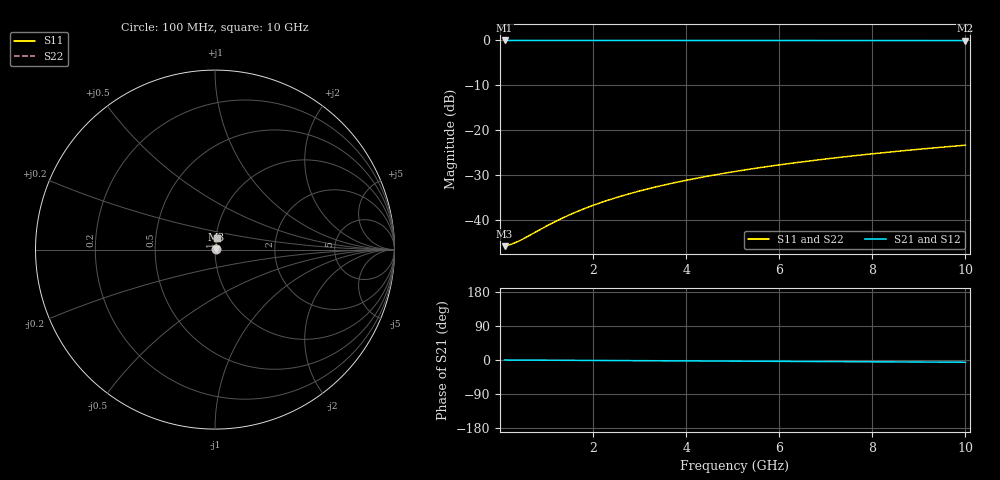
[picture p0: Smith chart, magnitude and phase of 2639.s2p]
# Hz S RI R 50.00
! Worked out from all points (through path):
!   100 points, 100 MHz to 10 GHz, reference 50 ohm
!   highest |S21| = -0.04 dB at 100 MHz (marker M1); lowest = -0.1 dB at 10 GHz (marker M2)
!   lowest |S11| = -45.8 dB at 100 MHz (marker M3), VSWR 1.01, Z = 50.5 + j0.0683 ohm
!   |S11| at or under -10 dB: start of sweep to end of sweep
!   |S22| runs from -45.8 to -23.3 dB; largest |S21 - S12| = 0
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1e8  0.00511 0.000676  0.9949 -0.00103  0.9949 -0.00103  0.00511 0.000676
2e8  0.00514 0.00135  0.9949 -0.00205  0.9949 -0.00205  0.00514 0.00135
3e8  0.00517 0.00203  0.9948 -0.00308  0.9948 -0.00308  0.00517 0.00203
4e8  0.0052 0.0027  0.9948 -0.0041  0.9948 -0.0041  0.0052 0.0027
6e8  0.00524 0.00406  0.9948 -0.00616  0.9948 -0.00616  0.00524 0.00406
1e9  0.00533 0.00676  0.9947 -0.0103  0.9947 -0.0103  0.00533 0.00676
1.2e9  0.00538 0.00811  0.9946 -0.0123  0.9946 -0.0123  0.00538 0.00811
1.5e9  0.00546 0.0101  0.9945 -0.0154  0.9945 -0.0154  0.00546 0.0101
1.8e9  0.00555 0.0122  0.9944 -0.0185  0.9944 -0.0185  0.00555 0.0122
2.1e9  0.00566 0.0142  0.9943 -0.0215  0.9943 -0.0215  0.00566 0.0142
2.5e9  0.00581 0.0169  0.9941 -0.0256  0.9941 -0.0256  0.00581 0.0169
2.9e9  0.00598 0.0196  0.994 -0.0297  0.994 -0.0297  0.00598 0.0196
3.4e9  0.00622 0.023  0.9937 -0.0349  0.9937 -0.0349  0.00622 0.023
3.8e9  0.00644 0.0256  0.9935 -0.039  0.9935 -0.039  0.00644 0.0256
4.2e9  0.00668 0.0283  0.9932 -0.043  0.9932 -0.043  0.00668 0.0283
4.6e9  0.00694 0.031  0.9929 -0.0471  0.9929 -0.0471  0.00694 0.031
5.1e9  0.0073 0.0344  0.9925 -0.0523  0.9925 -0.0523  0.0073 0.0344
5.9e9  0.00794 0.0398  0.9918 -0.0604  0.9918 -0.0604  0.00794 0.0398
6.7e9  0.00867 0.0451  0.991 -0.0686  0.991 -0.0686  0.00867 0.0451
7.5e9  0.00949 0.0505  0.9901 -0.0767  0.9901 -0.0767  0.00949 0.0505
8.4e9  0.0105 0.0564  0.989 -0.0859  0.989 -0.0859  0.0105 0.0564
1e10  0.0126 0.067  0.9867 -0.1021  0.9867 -0.1021  0.0126 0.067
